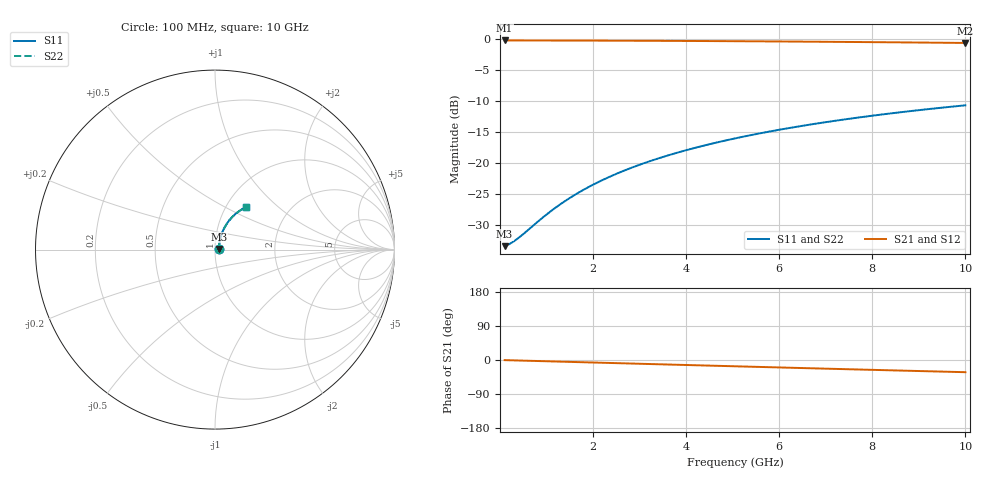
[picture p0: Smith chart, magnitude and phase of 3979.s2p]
# Hz S RI R 50.00
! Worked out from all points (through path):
!   100 points, 100 MHz to 10 GHz, reference 50 ohm
!   highest |S21| = -0.19 dB at 100 MHz (marker M1); lowest = -0.6 dB at 10 GHz (marker M2)
!   group delay of S21, straight-line fit = 8.95 ps
!   lowest |S11| = -33.4 dB at 100 MHz (marker M3), VSWR 1.04, Z = 52.2 + j0.32 ohm
!   |S11| at or under -10 dB: start of sweep to end of sweep
!   |S22| runs from -33.4 to -10.7 dB; largest |S21 - S12| = 0
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1e8  0.0212 0.00306  0.9788 -0.00566  0.9788 -0.00566  0.0212 0.00306
2e8  0.0214 0.00612  0.9786 -0.0113  0.9786 -0.0113  0.0214 0.00612
3e8  0.0216 0.00918  0.9784 -0.017  0.9784 -0.017  0.0216 0.00918
4e8  0.0218 0.0122  0.9781 -0.0226  0.9781 -0.0226  0.0218 0.0122
9e8  0.0232 0.0275  0.9765 -0.0509  0.9765 -0.0509  0.0232 0.0275
1.2e9  0.0245 0.0365  0.975 -0.0678  0.975 -0.0678  0.0245 0.0365
1.5e9  0.026 0.0456  0.9732 -0.0846  0.9732 -0.0846  0.026 0.0456
1.8e9  0.0278 0.0545  0.971 -0.1013  0.971 -0.1013  0.0278 0.0545
2.1e9  0.03 0.0634  0.9685 -0.118  0.9685 -0.118  0.03 0.0634
2.5e9  0.0333 0.0751  0.9645 -0.1401  0.9645 -0.1401  0.0333 0.0751
2.9e9  0.0371 0.0866  0.96 -0.1621  0.96 -0.1621  0.0371 0.0866
3.4e9  0.0426 0.1007  0.9534 -0.1892  0.9534 -0.1892  0.0426 0.1007
3.8e9  0.0476 0.1117  0.9474 -0.2106  0.9474 -0.2106  0.0476 0.1117
4.2e9  0.053 0.1225  0.9409 -0.2318  0.9409 -0.2318  0.053 0.1225
4.6e9  0.0589 0.1329  0.9337 -0.2526  0.9337 -0.2526  0.0589 0.1329
5.1e9  0.0669 0.1455  0.924 -0.2783  0.924 -0.2783  0.0669 0.1455
5.9e9  0.0811 0.1646  0.9068 -0.3182  0.9068 -0.3182  0.0811 0.1646
6.7e9  0.0967 0.1821  0.8876 -0.3567  0.8876 -0.3567  0.0967 0.1821
7.5e9  0.1138 0.198  0.8666 -0.3935  0.8666 -0.3935  0.1138 0.198
8.4e9  0.1343 0.2139  0.841 -0.433  0.841 -0.433  0.1343 0.2139
9.2e9  0.1536 0.2261  0.8167 -0.4662  0.8167 -0.4662  0.1536 0.2261
1e10  0.1736 0.2365  0.7912 -0.4976  0.7912 -0.4976  0.1736 0.2365
